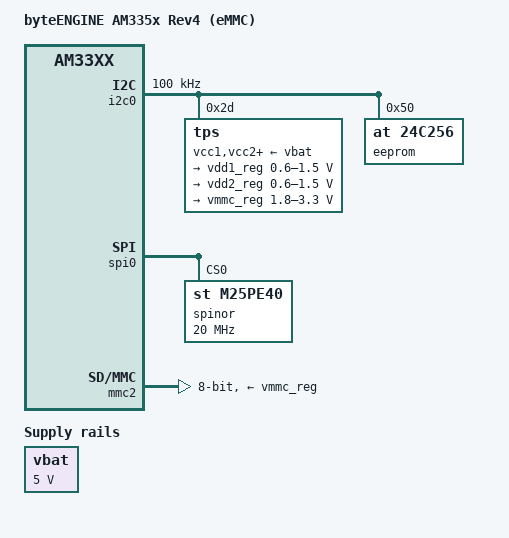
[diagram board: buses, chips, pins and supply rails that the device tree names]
// SPDX-License-Identifier: GPL-2.0-only
/*
 * Copyright (C) 2020 bytesatwork AG - https://www.bytesatwork.io
 */

#include "am33xx.dtsi"
#include <dt-bindings/pinctrl/am335x-names.h>

/ {
	model = "byteENGINE AM335x Rev4 (eMMC)";
	compatible = "batw,am335x", "ti,am33xx";

	cpus {
		cpu@0 {
			cpu0-supply = <&vdd1_reg>;
		};
	};

	vbat: fixedregulator@0 {
		compatible = "regulator-fixed";
		regulator-name = "vbat";
		regulator-min-microvolt = <5000000>;
		regulator-max-microvolt = <5000000>;
		regulator-boot-on;
	};
};

&am33xx_pinmux {
	i2c0_pins: pinmux_i2c0_pins {
		pinctrl-single,pins = <
			PIN_I2C0_SDA	(PIN_INPUT_PULLUP | MUX_MODE0)
			PIN_I2C0_SCL	(PIN_INPUT_PULLUP | MUX_MODE0)
		>;
	};

	emmc_pins: pinmux_emmc_pins {
		pinctrl-single,pins = <
			PIN_GPMC_CSN1	(PIN_INPUT_PULLUP | MUX_MODE2)	/* gpmc_csn1.mmc1_clk */
			PIN_GPMC_CSN2	(PIN_INPUT_PULLUP | MUX_MODE2)	/* gpmc_csn2.mmc1_cmd */
			PIN_GPMC_AD0	(PIN_INPUT_PULLUP | MUX_MODE1)	/* gpmc_ad0.mmc1_dat0 */
			PIN_GPMC_AD1	(PIN_INPUT_PULLUP | MUX_MODE1)	/* gpmc_ad1.mmc1_dat1 */
			PIN_GPMC_AD2	(PIN_INPUT_PULLUP | MUX_MODE1)	/* gpmc_ad2.mmc1_dat2 */
			PIN_GPMC_AD3	(PIN_INPUT_PULLUP | MUX_MODE1)	/* gpmc_ad3.mmc1_dat3 */
			PIN_GPMC_AD4	(PIN_INPUT_PULLUP | MUX_MODE1)	/* gpmc_ad4.mmc1_dat4 */
			PIN_GPMC_AD5	(PIN_INPUT_PULLUP | MUX_MODE1)	/* gpmc_ad5.mmc1_dat5 */
			PIN_GPMC_AD6	(PIN_INPUT_PULLUP | MUX_MODE1)	/* gpmc_ad6.mmc1_dat6 */
			PIN_GPMC_AD7	(PIN_INPUT_PULLUP | MUX_MODE1)	/* gpmc_ad7.mmc1_dat7 */
		>;
	};

	spi0_pins: spi0_pins {
		pinctrl-single,pins = <
			PIN_SPI0_SCLK	( PIN_INPUT | MUX_MODE0 )	/* (A17) spi0_sclk.spi0_sclk */
			PIN_SPI0_D0	( PIN_INPUT | MUX_MODE0 )	/* (B17) spi0_d0.spi0_d0 */
			PIN_SPI0_D1	( PIN_OUTPUT | MUX_MODE0 )	/* (B16) spi0_d1.spi0_d1 */
			PIN_SPI0_CS0	( PIN_OUTPUT | MUX_MODE0 )	/* (A16) spi0_cs0.spi0_cs0 */
		>;
	};
};

&i2c0 {
	pinctrl-names = "default";
	pinctrl-0 = <&i2c0_pins>;
	clock-frequency = <100000>;
	status = "okay";

	tps: tps@2d {
		reg = <0x2d>;
	};

	eeprom: eeprom@50 {
		reg = <0x50>;
	};
};

#include "tps65910.dtsi"

&tps {
	vcc1-supply = <&vbat>;
	vcc2-supply = <&vbat>;
	vcc3-supply = <&vbat>;
	vcc4-supply = <&vbat>;
	vcc5-supply = <&vbat>;
	vcc6-supply = <&vbat>;
	vcc7-supply = <&vbat>;
	vccio-supply = <&vbat>;

	regulators {
		vrtc_reg: regulator@0 {
			regulator-always-on;
		};

		vio_reg: regulator@1 {
			regulator-always-on;
		};

		vdd1_reg: regulator@2 {
			regulator-name = "vdd_mpu";
			regulator-min-microvolt = <600000>;
			regulator-max-microvolt = <1500000>;
			regulator-boot-on;
			regulator-always-on;
		};

		vdd2_reg: regulator@3 {
			regulator-name = "vdd_core";
			regulator-min-microvolt = <600000>;
			regulator-max-microvolt = <1500000>;
			regulator-boot-on;
			regulator-always-on;
		};

		vdd3_reg: regulator@4 {
			regulator-always-on;
		};

		vdig1_reg: regulator@5 {
			regulator-always-on;
		};

		vdig2_reg: regulator@6 {
			regulator-always-on;
		};

		vpll_reg: regulator@7 {
			regulator-always-on;
		};

		vdac_reg: regulator@8 {
			regulator-always-on;
		};

		vaux1_reg: regulator@9 {
			regulator-always-on;
		};

		vaux2_reg: regulator@10 {
			regulator-always-on;
		};

		vaux33_reg: regulator@11 {
			regulator-always-on;
		};

		vmmc_reg: regulator@12 {
			regulator-min-microvolt = <1800000>;
			regulator-max-microvolt = <3300000>;
			regulator-always-on;
		};
	};
};

&eeprom {
	compatible = "at,24c256";
	status = "okay";
};

&spi0 {
	pinctrl-names = "default";
	pinctrl-0 = <&spi0_pins>;
	status = "okay";

	spinor: flash@0 {
		#address-cells = <1>;
		#size-cells = <1>;
		compatible = "st,m25pe40", "jedec,spi-nor";
		spi-max-frequency = <20000000>;
		reg = <0>;
	};
};

&mmc2 {
	pinctrl-names = "default";
	pinctrl-0 = <&emmc_pins>;
	vmmc-supply = <&vmmc_reg>;
	ti,non-removable;
	bus-width = <8>;
	status = "okay";
};
